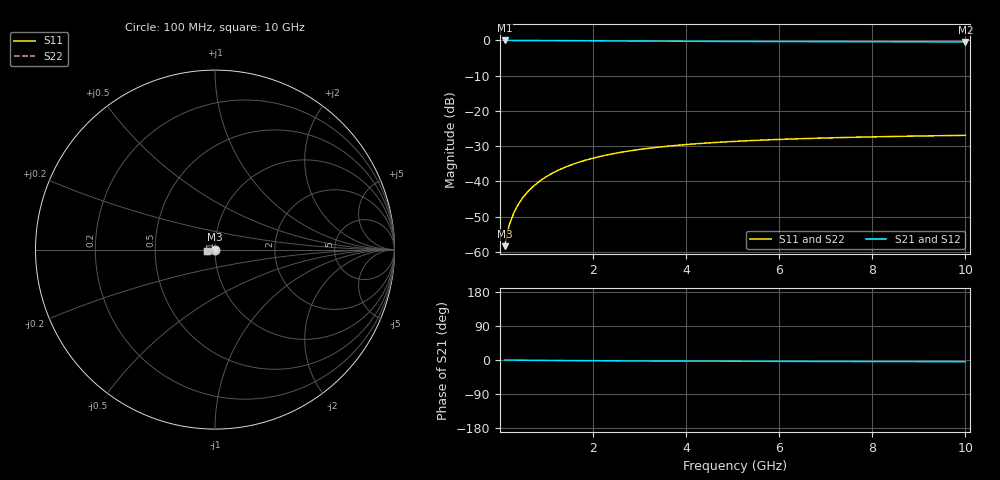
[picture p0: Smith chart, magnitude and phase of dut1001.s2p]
! Touchstone file exported from HFSS 2024.1.0
!  File:  C:/UserFiles/LocalFiles/RDL_TSV_Batchsim/temp_TSV1_1001_1780058034.aedt
!  Generated:  08:37:41 PM May 29, 2026
!  Design:  TSV1
!  Project:  temp_TSV1_1001_1780058034
!  Setup:  Setup1
!  Solution:  Sweep
! Variables:
!  dtsv = 10.92um
!  hbump = 3um
!  htsv = 70.02um
!  lrdl = 252.1521522um
!  p = 40
!  p1 = 44.94um
!  t = 500um
!  trdl = 3um
!  wrdl = 24.89489489um
# GHz S MA R 50.000000
! Terminal data exported
! Port[1] = TSV22_T1
! Port[2] = TSV22_T2
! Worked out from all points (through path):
!   100 points, 100 MHz to 10 GHz, reference 50 ohm
!   highest |S21| = 0.00 dB at 100 MHz (marker M1); lowest = -0.4 dB at 10 GHz (marker M2)
!   lowest |S11| = -58.4 dB at 100 MHz (marker M3), VSWR 1.00, Z = 50 - j0.12 ohm
!   |S11| at or under -10 dB: start of sweep to end of sweep
!   |S22| runs from -58.4 to -26.9 dB; largest |S21 - S12| = 1.6e-14
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0.1  0.001207 -86.2  0.9998 -0.1  0.9998 -0.1  0.001207 -86.2
! Gamma 0 0 0 0
! Port Impedance 50 0 50 0
0.2  0.002407 -90.3  0.9997 -0.2  0.9997 -0.2  0.002407 -90.3
0.3  0.003609 -92.8  0.9995 -0.3  0.9995 -0.3  0.003609 -92.8
0.4  0.004807 -94.8  0.9993 -0.4  0.9993 -0.4  0.004807 -94.8
0.5  0.005998 -96.7  0.999 -0.5  0.999 -0.5  0.005998 -96.7
0.6  0.007176 -98.5  0.9986 -0.7  0.9986 -0.7  0.007176 -98.5
0.7  0.00834 -100.2  0.9982 -0.8  0.9982 -0.8  0.00834 -100.2
0.8  0.009486 -101.9  0.9977 -0.9  0.9977 -0.9  0.009486 -101.9
0.9  0.01061 -103.5  0.9971 -1.0  0.9971 -1.0  0.01061 -103.5
1.1  0.0128 -106.7  0.996 -1.1  0.996 -1.1  0.0128 -106.7
1.4  0.01591 -111.2  0.9939 -1.4  0.9939 -1.4  0.01591 -111.2
1.6  0.01784 -114.1  0.9924 -1.6  0.9924 -1.6  0.01784 -114.1
1.8  0.01967 -116.8  0.9908 -1.7  0.9908 -1.7  0.01967 -116.8
2.1  0.0222 -120.7  0.9884 -1.9  0.9884 -1.9  0.0222 -120.7
2.5  0.02521 -125.4  0.9851 -2.2  0.9851 -2.2  0.02521 -125.4
2.9  0.02782 -129.8  0.982 -2.4  0.982 -2.4  0.02782 -129.8
3.4  0.03061 -134.6  0.9783 -2.6  0.9783 -2.6  0.03061 -134.6
4.2  0.03415 -141.2  0.9732 -2.9  0.9732 -2.9  0.03415 -141.2
5.1  0.03715 -147.4  0.9685 -3.2  0.9685 -3.2  0.03715 -147.3
6.7  0.04083 -156.0  0.9623 -3.7  0.9623 -3.7  0.04083 -156.0
8.4  0.04339 -163.0  0.9578 -4.1  0.9578 -4.1  0.04338 -163.0
10  0.04507 -168.4  0.9549 -4.5  0.9549 -4.5  0.04507 -168.4
